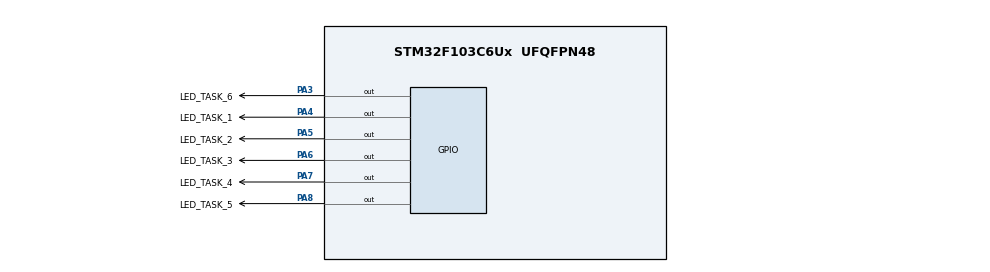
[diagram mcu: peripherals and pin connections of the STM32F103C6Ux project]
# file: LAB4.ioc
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Mcu.Family=STM32F1
Mcu.Name=STM32F103C6Ux
Mcu.Package=UFQFPN48
NVIC.PriorityGroup=NVIC_PRIORITYGROUP_4
NVIC.TIM2_IRQn=true\:0\:0\:false\:false\:true\:true\:true
PA3.GPIO_Label=LED_TASK_6
PA3.Signal=GPIO_Output
PA4.GPIO_Label=LED_TASK_1
PA4.Signal=GPIO_Output
PA5.GPIO_Label=LED_TASK_2
PA5.Signal=GPIO_Output
PA6.GPIO_Label=LED_TASK_3
PA6.Signal=GPIO_Output
PA7.GPIO_Label=LED_TASK_4
PA7.Signal=GPIO_Output
PA8.GPIO_Label=LED_TASK_5
PA8.Signal=GPIO_Output
ProjectManager.HeapSize=0x200
ProjectManager.StackSize=0x400
ProjectManager.TargetToolchain=STM32CubeIDE
RCC.APB1Freq_Value=8000000
RCC.APB2Freq_Value=8000000
TIM2.Period=9
TIM2.Prescaler=7999
VP_SYS_VS_ND.Mode=No_Debug
VP_TIM2_VS_ClockSourceINT.Mode=Internal
board=custom

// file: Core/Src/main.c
/* USER CODE BEGIN Header */
/**
  ******************************************************************************
  * @file           : main.c
  * @brief          : Main program body
  ******************************************************************************
  * @attention
  *
  * <h2><center>&copy; Copyright (c) 2025 STMicroelectronics.
  * All rights reserved.</center></h2>
  *
  * This software component is licensed by ST under BSD 3-Clause license,
  * the "License"; You may not use this file except in compliance with the
  * License. You may obtain a copy of the License at:
  *                        opensource.org/licenses/BSD-3-Clause
  *
  ******************************************************************************
  */
/* USER CODE END Header */
#include "main.h"

/* USER CODE BEGIN Includes */
#include "scheduler.h"
/* USER CODE END Includes */

TIM_HandleTypeDef htim2;

void SystemClock_Config(void);
static void MX_TIM2_Init(void);
static void MX_GPIO_Init(void);

/* USER CODE BEGIN 0 */

void task_500ms(void) {
	HAL_GPIO_TogglePin(GPIOA, LED_TASK_1_Pin);
}

void task_1000ms(void) {
	HAL_GPIO_TogglePin(GPIOA, LED_TASK_2_Pin);
}

void task_1500ms(void) {
	HAL_GPIO_TogglePin(GPIOA, LED_TASK_3_Pin);
}

void task_2000ms(void) {
	HAL_GPIO_TogglePin(GPIOA, LED_TASK_4_Pin);
}

void task_2500ms(void) {
	HAL_GPIO_TogglePin(GPIOA, LED_TASK_5_Pin);
}

void task_10ms(void) {
	HAL_GPIO_TogglePin(GPIOA, LED_TASK_6_Pin);
}
/* USER CODE END 0 */

int main(void)
{

  /* MCU Configuration--------------------------------------------------------*/

  /* Reset of all peripherals, Initializes the Flash interface and the Systick. */
  HAL_Init();

  /* Configure the system clock */
  SystemClock_Config();

  /* Initialize all configured peripherals */
  MX_TIM2_Init();
  MX_GPIO_Init();
  /* USER CODE BEGIN 2 */
  HAL_TIM_Base_Start_IT (& htim2 ) ;
  SCH_Init();
    SCH_Add_Task(task_10ms,   0, 10);
    SCH_Add_Task(task_500ms,  0, 20);
    SCH_Add_Task(task_1000ms, 0, 40);
    SCH_Add_Task(task_1500ms, 0, 80);
    SCH_Add_Task(task_2000ms, 0, 100);
    SCH_Add_Task(task_2500ms, 0, 100);
  /* USER CODE END 2 */

  /* Infinite loop */
  /* USER CODE BEGIN WHILE */
  while (1)
  {
	  SCH_Dispatch_Tasks();
    /* USER CODE END WHILE */

  }
}

void SystemClock_Config(void)
{
  RCC_OscInitTypeDef RCC_OscInitStruct = {0};
  RCC_ClkInitTypeDef RCC_ClkInitStruct = {0};

  /** Initializes the RCC Oscillators according to the specified parameters
  * in the RCC_OscInitTypeDef structure.
  */
  RCC_OscInitStruct.OscillatorType = RCC_OSCILLATORTYPE_HSI;
  RCC_OscInitStruct.HSIState = RCC_HSI_ON;
  RCC_OscInitStruct.HSICalibrationValue = RCC_HSICALIBRATION_DEFAULT;
  RCC_OscInitStruct.PLL.PLLState = RCC_PLL_NONE;
  if (HAL_RCC_OscConfig(&RCC_OscInitStruct) != HAL_OK)
  {
    Error_Handler();
  }
  /** Initializes the CPU, AHB and APB buses clocks
  */
  RCC_ClkInitStruct.ClockType = RCC_CLOCKTYPE_HCLK|RCC_CLOCKTYPE_SYSCLK
                              |RCC_CLOCKTYPE_PCLK1|RCC_CLOCKTYPE_PCLK2;
  RCC_ClkInitStruct.SYSCLKSource = RCC_SYSCLKSOURCE_HSI;
  RCC_ClkInitStruct.AHBCLKDivider = RCC_SYSCLK_DIV1;
  RCC_ClkInitStruct.APB1CLKDivider = RCC_HCLK_DIV1;
  RCC_ClkInitStruct.APB2CLKDivider = RCC_HCLK_DIV1;

  if (HAL_RCC_ClockConfig(&RCC_ClkInitStruct, FLASH_LATENCY_0) != HAL_OK)
  {
    Error_Handler();
  }
}

static void MX_TIM2_Init(void)
{

  TIM_ClockConfigTypeDef sClockSourceConfig = {0};
  TIM_MasterConfigTypeDef sMasterConfig = {0};

  htim2.Instance = TIM2;
  htim2.Init.Prescaler = 7999;
  htim2.Init.CounterMode = TIM_COUNTERMODE_UP;
  htim2.Init.Period = 9;
  htim2.Init.ClockDivision = TIM_CLOCKDIVISION_DIV1;
  htim2.Init.AutoReloadPreload = TIM_AUTORELOAD_PRELOAD_DISABLE;
  if (HAL_TIM_Base_Init(&htim2) != HAL_OK)
  {
    Error_Handler();
  }
  sClockSourceConfig.ClockSource = TIM_CLOCKSOURCE_INTERNAL;
  if (HAL_TIM_ConfigClockSource(&htim2, &sClockSourceConfig) != HAL_OK)
  {
    Error_Handler();
  }
  sMasterConfig.MasterOutputTrigger = TIM_TRGO_RESET;
  sMasterConfig.MasterSlaveMode = TIM_MASTERSLAVEMODE_DISABLE;
  if (HAL_TIMEx_MasterConfigSynchronization(&htim2, &sMasterConfig) != HAL_OK)
  {
    Error_Handler();
  }

}

static void MX_GPIO_Init(void)
{
  GPIO_InitTypeDef GPIO_InitStruct = {0};

  /* GPIO Ports Clock Enable */
  __HAL_RCC_GPIOA_CLK_ENABLE();

  /*Configure GPIO pin Output Level */
  HAL_GPIO_WritePin(GPIOA, LED_TASK_6_Pin|LED_TASK_1_Pin|LED_TASK_2_Pin|LED_TASK_3_Pin
                          |LED_TASK_4_Pin|LED_TASK_5_Pin, GPIO_PIN_RESET);

  /*Configure GPIO pins : LED_TASK_6_Pin LED_TASK_1_Pin LED_TASK_2_Pin LED_TASK_3_Pin
                           LED_TASK_4_Pin LED_TASK_5_Pin */
  GPIO_InitStruct.Pin = LED_TASK_6_Pin|LED_TASK_1_Pin|LED_TASK_2_Pin|LED_TASK_3_Pin
                          |LED_TASK_4_Pin|LED_TASK_5_Pin;
  GPIO_InitStruct.Mode = GPIO_MODE_OUTPUT_PP;
  GPIO_InitStruct.Pull = GPIO_NOPULL;
  GPIO_InitStruct.Speed = GPIO_SPEED_FREQ_LOW;
  HAL_GPIO_Init(GPIOA, &GPIO_InitStruct);

}

/* USER CODE BEGIN 4 */
void HAL_TIM_PeriodElapsedCallback(TIM_HandleTypeDef *htim){
   SCH_Update();
}
/* USER CODE END 4 */

void Error_Handler(void)
{
  __disable_irq();
  while (1)
  {
  }
}

/************************ (C) COPYRIGHT STMicroelectronics *****END OF FILE****/
